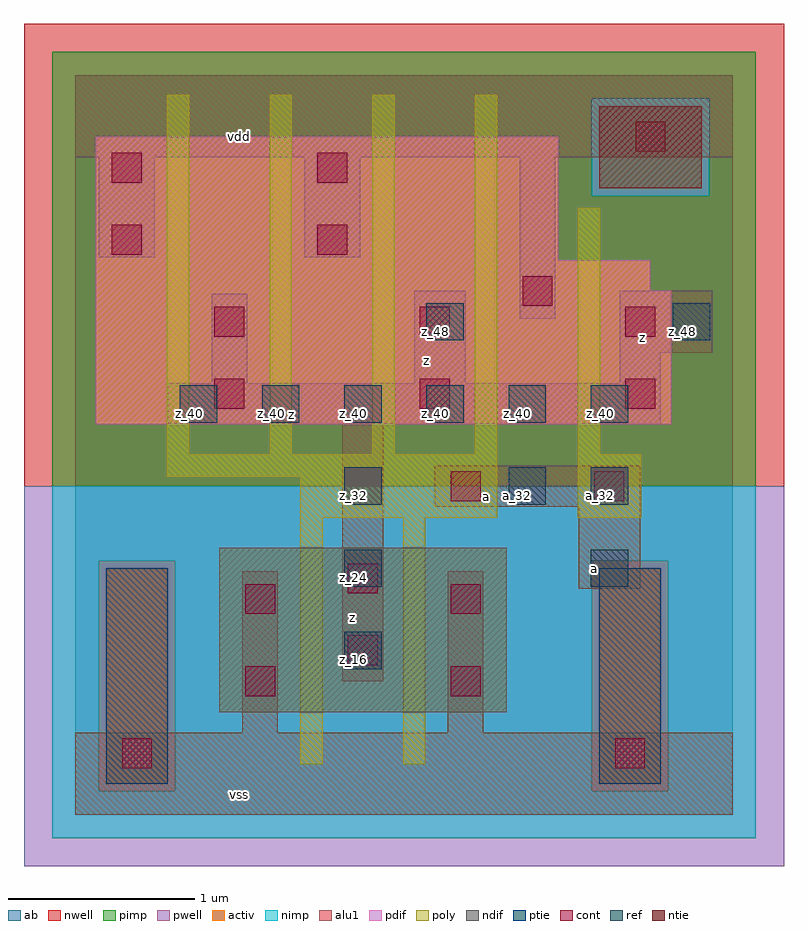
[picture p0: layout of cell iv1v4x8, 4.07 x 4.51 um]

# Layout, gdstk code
import gdstk
lib = gdstk.Library(unit=1e-6, precision=2.5e-09)
def R(c, l, rs):  # rectangles x0, y0, x1, y1
    for r in rs: c.add(gdstk.rectangle(r[:2], r[2:], *l))
def A(c, l, x, y, w, h, nx, ny, dx, dy):  # array of equal rectangles
    R(c, l, [(x+i*dx, y+j*dy, x+i*dx+w, y+j*dy+h) for i in range(nx) for j in range(ny)])
ndif = (3, 0)
pdif = (4, 0)
ntie = (5, 0)
ptie = (6, 0)
ref = (24, 0)
cont = (25, 0)
pwell = (41, 0)
nwell = (42, 0)
activ = (43, 0)
pimp = (44, 0)
nimp = (45, 0)
poly = (46, 0)
alu1 = (49, 0)
ab = (63, 0)

iv1v4x8 = lib.new_cell('iv1v4x8')
R(iv1v4x8, ndif, [(0.77,0.55,2.31,1.43)])
R(iv1v4x8, pdif, [(0.11,2.09,3.19,2.805), (0.11,2.805,3.08,2.97), (0.11,2.97,2.585,3.63)])
R(iv1v4x8, ntie, [(2.805,3.355,3.355,3.795)])
R(iv1v4x8, ptie, [(0.165,0.165,0.495,1.32), (2.805,0.165,3.135,1.32)])
A(iv1v4x8, ref, 1.44, 0.78, 0.2, 0.2, 1, 3, 0, 0.44)
A(iv1v4x8, ref, 0.56, 2.1, 0.2, 0.2, 6, 1, 0.44, 0)
R(iv1v4x8, ref, [(2.76,1.22,2.96,1.42), (2.32,1.66,2.52,1.86), (2.76,1.66,2.96,1.86), (1.88,2.54,2.08,2.74), (3.2,2.54,3.4,2.74)])
A(iv1v4x8, cont, 0.745, 2.175, 0.16, 0.16, 3, 2, 1.1, 0.385)
R(iv1v4x8, cont, [(0.25,0.25,0.41,0.41), (2.89,0.25,3.05,0.41), (0.91,0.635,1.07,0.795), (2.01,0.635,2.17,0.795), (1.46,0.8,1.62,0.96), (0.91,1.075,1.07,1.235), (2.01,1.075,2.17,1.235), (1.46,1.185,1.62,1.345), (2.01,1.68,2.17,1.84), (2.78,1.68,2.94,1.84), (2.395,2.725,2.555,2.885), (0.195,3,0.355,3.16), (1.295,3,1.455,3.16), (0.195,3.385,0.355,3.545), (1.295,3.385,1.455,3.545), (3,3.55,3.16,3.71)])
R(iv1v4x8, pwell, [(-0.275,-0.275,3.795,1.76)])
R(iv1v4x8, nwell, [(-0.275,1.76,3.795,4.235)])
R(iv1v4x8, activ, [(0.165,0.165,0.495,1.32), (2.805,0.165,3.135,1.32), (0.77,0.55,2.31,1.43), (0.11,2.09,3.19,2.805), (0.11,2.805,3.08,2.97), (0.11,2.97,2.585,3.63), (2.805,3.355,3.355,3.795)])
R(iv1v4x8, pimp, [(0.125,0.125,0.535,1.36), (2.765,0.125,3.175,1.36), (-0.125,1.76,3.645,3.315), (-0.125,3.315,2.765,3.835), (3.395,3.315,3.645,3.835), (-0.125,3.835,3.645,4.085)])
R(iv1v4x8, nimp, [(-0.125,-0.125,3.645,0.125), (-0.125,0.125,0.125,1.36), (0.535,0.125,2.765,1.36), (3.175,0.125,3.645,1.36), (-0.125,1.36,3.645,1.76), (2.765,3.315,3.395,3.835)])
A(iv1v4x8, poly, 0.49, 1.93, 0.12, 1.925, 4, 1, 0.55, 0)
R(iv1v4x8, poly, [(1.205,0.27,1.325,1.59), (1.755,0.27,1.875,1.59), (1.205,1.59,2.26,1.81), (2.69,1.59,3.03,1.93), (0.49,1.81,2.26,1.93), (2.69,1.93,2.81,3.25)])
R(iv1v4x8, alu1, [(0,0,3.52,0.44), (0.895,0.44,1.085,1.305), (1.995,0.44,2.185,1.305), (1.43,0.715,1.65,2.09), (2.695,1.21,3.025,1.65), (1.925,1.65,3.025,1.87), (0.495,2.09,3.135,2.31), (0.73,2.31,0.92,2.79), (1.815,2.31,2.09,2.805), (2.915,2.31,3.135,2.475), (2.915,2.475,3.41,2.805), (2.38,2.655,2.57,3.52), (0.125,2.985,0.425,3.52), (1.225,2.985,1.525,3.52), (0,3.52,3.52,3.96)])
R(iv1v4x8, ab, [(0,0,3.52,3.96)])
iv1v4x8.add(gdstk.Label('vss', (0.88,0.11), layer=49, texttype=0))
iv1v4x8.add(gdstk.Label('a', (2.7775,1.32), layer=49, texttype=0))
iv1v4x8.add(gdstk.Label('a', (2.2,1.705), layer=49, texttype=0))
iv1v4x8.add(gdstk.Label('z', (1.485,1.0575), layer=49, texttype=0))
iv1v4x8.add(gdstk.Label('z', (1.155,2.145), layer=49, texttype=0))
iv1v4x8.add(gdstk.Label('z', (3.0375,2.5575), layer=49, texttype=0))
iv1v4x8.add(gdstk.Label('z', (1.8825,2.4325), layer=49, texttype=0))
iv1v4x8.add(gdstk.Label('vdd', (0.88,3.63), layer=49, texttype=0))
iv1v4x8.add(gdstk.Label('z_40', (0.61,2.15), layer=24, texttype=0))
iv1v4x8.add(gdstk.Label('z_40', (1.05,2.15), layer=24, texttype=0))
iv1v4x8.add(gdstk.Label('z_16', (1.49,0.83), layer=24, texttype=0))
iv1v4x8.add(gdstk.Label('z_24', (1.49,1.27), layer=24, texttype=0))
iv1v4x8.add(gdstk.Label('z_32', (1.49,1.71), layer=24, texttype=0))
iv1v4x8.add(gdstk.Label('z_40', (1.49,2.15), layer=24, texttype=0))
iv1v4x8.add(gdstk.Label('z_40', (1.93,2.15), layer=24, texttype=0))
iv1v4x8.add(gdstk.Label('z_48', (1.93,2.59), layer=24, texttype=0))
iv1v4x8.add(gdstk.Label('a_32', (2.37,1.71), layer=24, texttype=0))
iv1v4x8.add(gdstk.Label('z_40', (2.37,2.15), layer=24, texttype=0))
iv1v4x8.add(gdstk.Label('a_24', (2.81,1.27), layer=24, texttype=0))
iv1v4x8.add(gdstk.Label('a_32', (2.81,1.71), layer=24, texttype=0))
iv1v4x8.add(gdstk.Label('z_40', (2.81,2.15), layer=24, texttype=0))
iv1v4x8.add(gdstk.Label('z_48', (3.25,2.59), layer=24, texttype=0))

lib.write_gds('iv1v4x8.gds')
